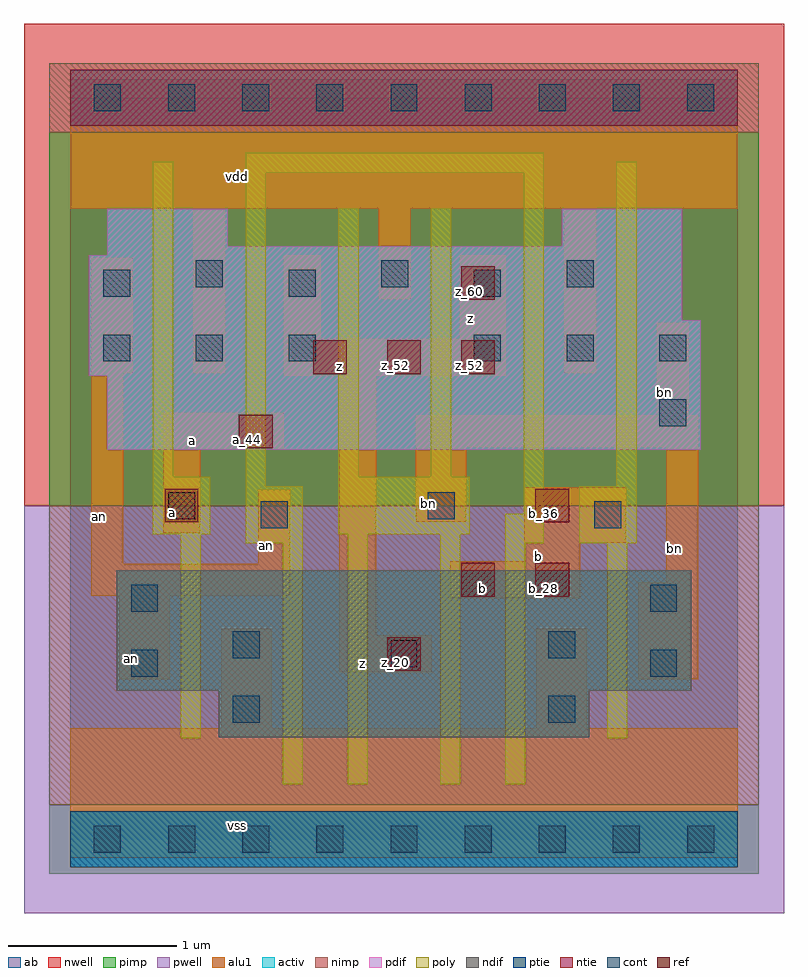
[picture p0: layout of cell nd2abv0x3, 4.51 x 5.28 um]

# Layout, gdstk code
import gdstk
lib = gdstk.Library(unit=1e-6, precision=2.5e-09)
def R(c, l, rs):  # rectangles x0, y0, x1, y1
    for r in rs: c.add(gdstk.rectangle(r[:2], r[2:], *l))
def A(c, l, x, y, w, h, nx, ny, dx, dy):  # array of equal rectangles
    R(c, l, [(x+i*dx, y+j*dy, x+i*dx+w, y+j*dy+h) for i in range(nx) for j in range(ny)])
ndif = (3, 0)
pdif = (4, 0)
ntie = (5, 0)
ptie = (6, 0)
ref = (24, 0)
cont = (25, 0)
pwell = (41, 0)
nwell = (42, 0)
activ = (43, 0)
pimp = (44, 0)
nimp = (45, 0)
poly = (46, 0)
alu1 = (49, 0)
ab = (63, 0)

nd2abv0x3 = lib.new_cell('nd2abv0x3')
R(nd2abv0x3, ndif, [(0.88,0.605,3.08,0.88), (0.275,0.88,3.685,1.595)])
R(nd2abv0x3, pdif, [(0.22,2.31,3.74,2.75), (0.11,2.75,3.74,3.08), (0.11,3.08,3.63,3.465), (0.22,3.465,3.63,3.52), (0.22,3.52,0.935,3.74), (2.915,3.52,3.63,3.74)])
R(nd2abv0x3, ntie, [(0,4.235,3.96,4.565)])
R(nd2abv0x3, ptie, [(0,-0.165,3.96,0.165)])
A(nd2abv0x3, ref, 1.44, 2.76, 0.2, 0.2, 3, 1, 0.44, 0)
R(nd2abv0x3, ref, [(1.88,1,2.08,1.2), (2.32,1.44,2.52,1.64), (2.76,1.44,2.96,1.64), (0.56,1.88,0.76,2.08), (2.76,1.88,2.96,2.08), (1,2.32,1.2,2.52), (2.32,3.2,2.52,3.4)])
A(nd2abv0x3, cont, 0.14, -0.08, 0.16, 0.16, 9, 2, 0.44, 4.4)
A(nd2abv0x3, cont, 0.195, 2.835, 0.16, 0.16, 3, 1, 0.55, 0)
A(nd2abv0x3, cont, 2.395, 2.835, 0.16, 0.16, 3, 1, 0.55, 0)
A(nd2abv0x3, cont, 0.195, 3.22, 0.16, 0.16, 3, 1, 1.1, 0)
A(nd2abv0x3, cont, 0.745, 3.275, 0.16, 0.16, 3, 1, 1.1, 0)
R(nd2abv0x3, cont, [(0.965,0.69,1.125,0.85), (2.835,0.69,2.995,0.85), (0.36,0.965,0.52,1.125), (3.44,0.965,3.6,1.125), (1.9,1.02,2.06,1.18), (0.965,1.075,1.125,1.235), (2.835,1.075,2.995,1.235), (0.36,1.35,0.52,1.51), (3.44,1.35,3.6,1.51), (1.13,1.845,1.29,2.005), (3.11,1.845,3.27,2.005), (0.58,1.9,0.74,2.06), (2.12,1.9,2.28,2.06), (3.495,2.45,3.655,2.61)])
R(nd2abv0x3, pwell, [(-0.275,-0.44,4.235,1.98)])
R(nd2abv0x3, nwell, [(-0.275,1.98,4.235,4.84)])
R(nd2abv0x3, activ, [(0,-0.165,3.96,0.165), (0.88,0.605,3.08,0.88), (0.275,0.88,3.685,1.595), (0.22,2.31,3.74,2.75), (0.11,2.75,3.74,3.08), (0.11,3.08,3.63,3.465), (0.22,3.465,3.63,3.52), (0.22,3.52,0.935,3.74), (2.915,3.52,3.63,3.74), (0,4.235,3.96,4.565)])
R(nd2abv0x3, pimp, [(-0.125,-0.205,4.085,0.205), (-0.125,1.98,4.085,4.195)])
R(nd2abv0x3, nimp, [(-0.125,0.205,4.085,1.98), (-0.125,4.195,4.085,4.605)])
R(nd2abv0x3, poly, [(1.26,0.325,1.38,1.755), (1.645,0.325,1.765,1.81), (2.195,0.325,2.315,1.81), (2.58,0.325,2.7,1.755), (0.655,0.6,0.775,1.81), (3.185,0.6,3.305,1.755), (1.04,1.755,1.38,2.095), (2.58,1.755,2.81,1.93), (3.02,1.755,3.36,2.095), (0.49,1.81,0.83,2.15), (1.59,1.81,2.37,2.15), (2.69,1.93,2.81,3.955), (1.04,2.095,1.16,3.955), (3.24,2.095,3.36,4.02), (0.49,2.15,0.61,4.02), (1.59,2.15,1.71,3.745), (2.14,2.15,2.26,3.745), (1.04,3.955,2.81,4.075)])
R(nd2abv0x3, alu1, [(0,-0.11,3.96,0.66), (0.895,0.66,1.195,1.25), (2.765,0.66,3.065,1.25), (0.29,0.95,0.59,1.445), (3.37,0.95,3.725,1.525), (1.595,0.99,2.145,1.21), (1.595,1.21,1.815,2.75), (2.255,1.43,3.025,1.65), (0.125,1.445,1.305,1.635), (3.535,1.525,3.725,2.325), (0.125,1.635,0.315,2.765), (1.115,1.635,1.305,2.075), (2.695,1.65,3.025,1.76), (2.695,1.76,3.3,2.09), (0.55,1.815,0.77,2.31), (2.05,1.885,2.35,2.325), (0.55,2.31,1.265,2.53), (2.05,2.325,3.725,2.515), (3.48,2.515,3.67,3.065), (1.265,2.75,2.585,2.97), (0.125,2.765,0.37,3.45), (0.73,2.765,0.92,3.74), (2.93,2.765,3.12,3.74), (1.265,2.97,1.485,3.465), (2.31,2.97,2.585,3.465), (1.83,3.205,2.02,3.74), (0,3.74,3.96,4.51)])
R(nd2abv0x3, ab, [(0,0,3.96,4.4)])
nd2abv0x3.add(gdstk.Label('vss', (0.99,0.0825), layer=49, texttype=0))
nd2abv0x3.add(gdstk.Label('z', (1.7325,1.045), layer=49, texttype=0))
nd2abv0x3.add(gdstk.Label('bn', (3.5825,1.725), layer=49, texttype=0))
nd2abv0x3.add(gdstk.Label('b', (2.4475,1.485), layer=49, texttype=0))
nd2abv0x3.add(gdstk.Label('b', (2.7775,1.6775), layer=49, texttype=0))
nd2abv0x3.add(gdstk.Label('bn', (2.125,1.995), layer=49, texttype=0))
nd2abv0x3.add(gdstk.Label('bn', (3.5275,2.6525), layer=49, texttype=0))
nd2abv0x3.add(gdstk.Label('an', (0.365,1.0725), layer=49, texttype=0))
nd2abv0x3.add(gdstk.Label('an', (1.1625,1.745), layer=49, texttype=0))
nd2abv0x3.add(gdstk.Label('a', (0.605,1.9375), layer=49, texttype=0))
nd2abv0x3.add(gdstk.Label('a', (0.7275,2.365), layer=49, texttype=0))
nd2abv0x3.add(gdstk.Label('z', (1.595,2.805), layer=49, texttype=0))
nd2abv0x3.add(gdstk.Label('an', (0.1725,1.9175), layer=49, texttype=0))
nd2abv0x3.add(gdstk.Label('z', (2.3775,3.0925), layer=49, texttype=0))
nd2abv0x3.add(gdstk.Label('vdd', (0.99,3.9325), layer=49, texttype=0))
nd2abv0x3.add(gdstk.Label('a_36', (0.61,1.93), layer=24, texttype=0))
nd2abv0x3.add(gdstk.Label('a_44', (1.05,2.37), layer=24, texttype=0))
nd2abv0x3.add(gdstk.Label('z_52', (1.49,2.81), layer=24, texttype=0))
nd2abv0x3.add(gdstk.Label('z_20', (1.93,1.05), layer=24, texttype=0))
nd2abv0x3.add(gdstk.Label('z_52', (1.93,2.81), layer=24, texttype=0))
nd2abv0x3.add(gdstk.Label('b_28', (2.37,1.49), layer=24, texttype=0))
nd2abv0x3.add(gdstk.Label('z_52', (2.37,2.81), layer=24, texttype=0))
nd2abv0x3.add(gdstk.Label('z_60', (2.37,3.25), layer=24, texttype=0))
nd2abv0x3.add(gdstk.Label('b_28', (2.81,1.49), layer=24, texttype=0))
nd2abv0x3.add(gdstk.Label('b_36', (2.81,1.93), layer=24, texttype=0))

lib.write_gds('nd2abv0x3.gds')
